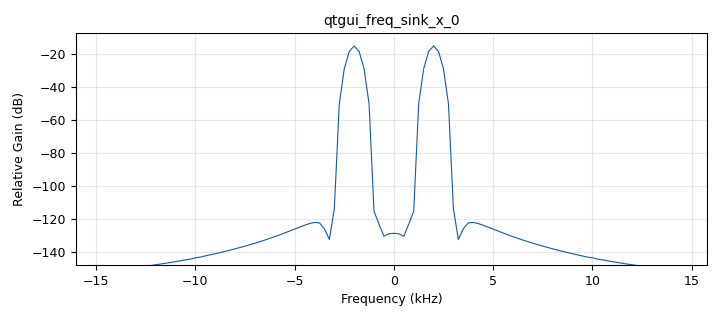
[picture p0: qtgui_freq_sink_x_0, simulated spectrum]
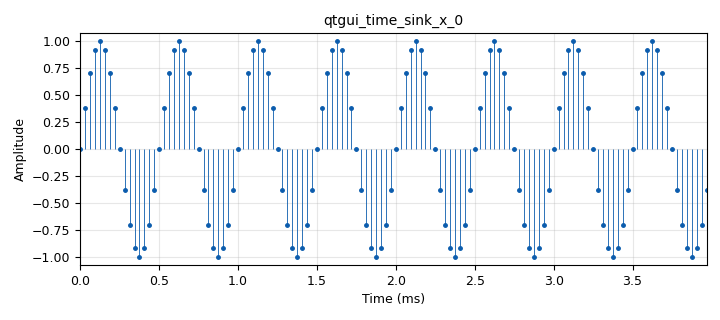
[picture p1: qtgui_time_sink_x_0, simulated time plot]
options:
  parameters:
    author: Cuadros_Vanegas_E1C
    generate_options: qt_gui
    id: Lab_comu_1
    output_language: python
    title: Primer Flujograma
  states: {}

blocks:
- name: Amplitud
  id: variable_qtgui_range
  parameters:
    start: '0'
    step: '1'
    stop: '5'
    value: '3'
  states: {}
- name: frecuency
  id: variable
  parameters:
    value: sample_rate/3
  states: {state: disabled}
- name: frecuency
  id: variable_qtgui_range
  parameters:
    start: '1000'
    step: '1000'
    stop: '40000'
    value: '2000'
  states: {}
- name: sample_rate
  id: variable
  parameters:
    value: 32e3
  states: {}
- name: analog_sig_source_x_0
  id: analog_sig_source_x
  parameters:
    amp: '1'
    freq: frecuency
    offset: '0'
    phase: '0'
    samp_rate: sample_rate
    type: float
    waveform: analog.GR_SIN_WAVE
  states: {}
- name: blocks_throttle_0
  id: blocks_throttle
  parameters:
    samples_per_second: 32e3
    type: float
  states: {}
- name: qtgui_freq_sink_x_0
  id: qtgui_freq_sink_x
  parameters:
    autoscale: 'True'
    bw: 32e3
    fc: '0'
    fftsize: '128'
    type: float
  states: {}
- name: qtgui_time_sink_x_0
  id: qtgui_time_sink_x
  parameters:
    size: '128'
    srate: 32e3
    stemplot: 'True'
    type: float
  states: {}

connections:
- [analog_sig_source_x_0, '0', blocks_throttle_0, '0']
- [blocks_throttle_0, '0', qtgui_freq_sink_x_0, '0']
- [blocks_throttle_0, '0', qtgui_time_sink_x_0, '0']

metadata:
  file_format: 1
  grc_version: 3.9.8.0
